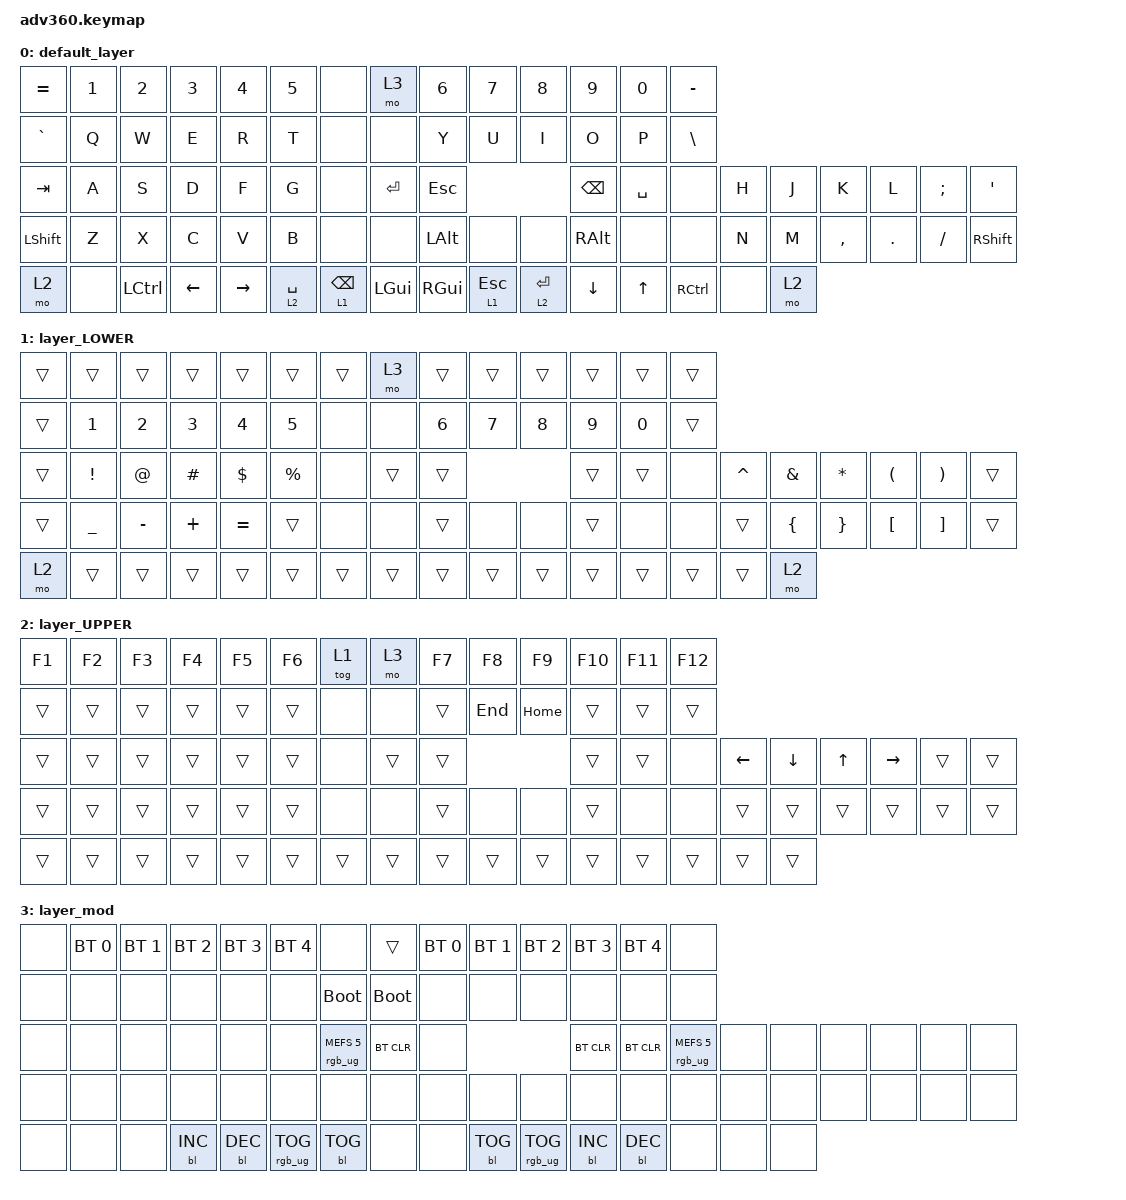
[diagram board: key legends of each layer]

/*
 * Copyright (c) 2020 The ZMK Contributors
 *
 * SPDX-License-Identifier: MIT
 */


/* THIS FILE WAS GENERATED!
 *
 * This file was generated automatically. You may or may not want to
 * edit it directly.
 */

#include <behaviors.dtsi>
#include <dt-bindings/zmk/keys.h>
#include <dt-bindings/zmk/bt.h>
#include <dt-bindings/zmk/rgb.h>
#include <dt-bindings/zmk/backlight.h>

/ {
  behaviors {
    #include "macros.dtsi"

    hm: homerow_mods {
        compatible = "zmk,behavior-hold-tap";
        label = "HOMEROW_MODS";
        #binding-cells = <2>;
        tapping-term-ms = <200>;
        quick_tap_ms = <175>;
        flavor = "tap-preferred";
        bindings = <&kp>, <&kp>;
    };
  };

    keymap {
        compatible = "zmk,keymap";


        default_layer {
            bindings = <
 &kp EQUAL  &kp N1     &kp N2    &kp N3     &kp N4       &kp N5                 &none      &mo 3    &kp N6     &kp N7       &kp N8         &kp N9     &kp N0  &kp MINUS
 &kp GRAVE   &kp Q      &kp W     &kp E      &kp R        &kp T                 &none      &none     &kp Y      &kp U        &kp I          &kp O      &kp P   &kp BSLH
   &kp TAB   &kp A      &kp S     &kp D      &kp F        &kp G                 &none  &kp ENTER   &kp ESC                          &kp BACKSPACE  &kp SPACE      &none   &kp H   &kp J      &kp K    &kp L  &kp SEMI    &kp SQT
 &kp LSHFT   &kp Z      &kp X     &kp C      &kp V        &kp B                 &none      &none  &kp LALT      &none        &none       &kp RALT      &none      &none   &kp N   &kp M  &kp COMMA  &kp DOT  &kp FSLH  &kp RSHFT
     &mo 2   &none  &kp LCTRL  &kp LEFT  &kp RIGHT  &lt 2 SPACE            &lt 1 BSPC   &kp LGUI  &kp RGUI  &lt 1 ESC  &lt 2 ENTER       &kp DOWN     &kp UP  &kp RCTRL   &none   &mo 2
            >;
        };

        layer_LOWER {
            bindings = <
 &trans           &trans        &trans        &trans        &trans        &trans            &trans   &mo 3        &trans        &trans        &trans        &trans        &trans  &trans
 &trans     &kp NUMBER_1  &kp NUMBER_2  &kp NUMBER_3  &kp NUMBER_4  &kp NUMBER_5             &none   &none  &kp NUMBER_6  &kp NUMBER_7  &kp NUMBER_8  &kp NUMBER_9  &kp NUMBER_0  &trans
 &trans  &kp EXCLAMATION        &kp AT      &kp HASH    &kp DOLLAR     &kp PRCNT             &none  &trans        &trans                                    &trans        &trans   &none  &kp CARET  &kp AMPERSAND  &kp ASTERISK  &kp LPAR  &kp RPAR  &trans
 &trans   &kp UNDERSCORE     &kp MINUS      &kp PLUS     &kp EQUAL        &trans             &none   &none        &trans         &none         &none        &trans         &none   &none     &trans       &kp LBRC      &kp RBRC  &kp LBKT  &kp RBKT  &trans
  &mo 2           &trans        &trans        &trans        &trans        &trans            &trans  &trans        &trans        &trans        &trans        &trans        &trans  &trans     &trans          &mo 2
            >;
        };

        layer_UPPER {
            bindings = <
 &kp F1  &kp F2  &kp F3  &kp F4  &kp F5  &kp F6            &tog 1   &mo 3  &kp F7   &kp F8    &kp F9  &kp F10  &kp F11  &kp F12
 &trans  &trans  &trans  &trans  &trans  &trans             &none   &none  &trans  &kp END  &kp HOME   &trans   &trans   &trans
 &trans  &trans  &trans  &trans  &trans  &trans             &none  &trans  &trans                      &trans   &trans    &none  &kp LEFT  &kp DOWN  &kp UP  &kp RIGHT  &trans  &trans
 &trans  &trans  &trans  &trans  &trans  &trans             &none   &none  &trans    &none     &none   &trans    &none    &none    &trans    &trans  &trans     &trans  &trans  &trans
 &trans  &trans  &trans  &trans  &trans  &trans            &trans  &trans  &trans   &trans    &trans   &trans   &trans   &trans    &trans    &trans
            >;
        };

        layer_mod {
            bindings = <
  &none  &bt BT_SEL 0  &bt BT_SEL 1  &bt BT_SEL 2  &bt BT_SEL 3     &bt BT_SEL 4                             &none       &trans  &bt BT_SEL 0  &bt BT_SEL 1     &bt BT_SEL 2  &bt BT_SEL 3  &bt BT_SEL 4                   &none
  &none         &none         &none         &none         &none            &none                       &bootloader  &bootloader         &none         &none            &none         &none         &none                   &none
  &none         &none         &none         &none         &none            &none            &rgb_ug RGB_MEFS_CMD 5   &bt BT_CLR         &none                                   &bt BT_CLR    &bt BT_CLR  &rgb_ug RGB_MEFS_CMD 5   &none   &none   &none   &none   &none   &none
  &none         &none         &none         &none         &none            &none                             &none        &none         &none         &none            &none         &none         &none                   &none   &none   &none   &none   &none   &none   &none
  &none         &none         &none    &bl BL_INC    &bl BL_DEC  &rgb_ug RGB_TOG                        &bl BL_TOG        &none         &none    &bl BL_TOG  &rgb_ug RGB_TOG    &bl BL_INC    &bl BL_DEC                   &none   &none   &none
            >;
        };

    };
};
